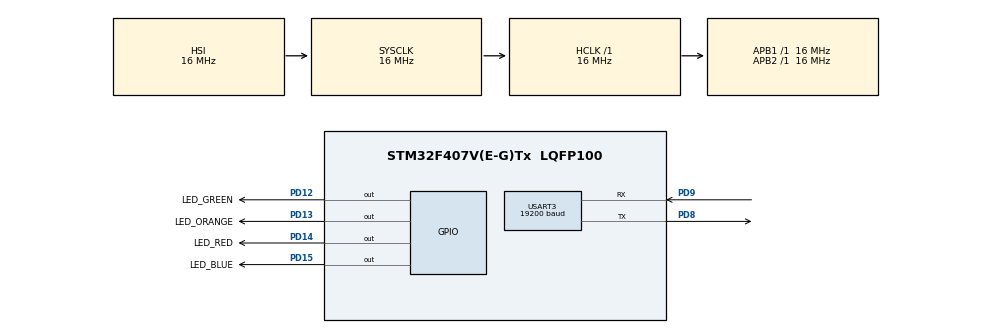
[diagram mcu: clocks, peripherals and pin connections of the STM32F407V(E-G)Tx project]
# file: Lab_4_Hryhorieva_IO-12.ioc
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Mcu.Family=STM32F4
Mcu.Name=STM32F407V(E-G)Tx
Mcu.Package=LQFP100
NVIC.PriorityGroup=NVIC_PRIORITYGROUP_4
PD12.GPIO_Label=LED_GREEN
PD12.Signal=GPIO_Output
PD13.GPIO_Label=LED_ORANGE
PD13.Signal=GPIO_Output
PD14.GPIO_Label=LED_RED
PD14.Signal=GPIO_Output
PD15.GPIO_Label=LED_BLUE
PD15.Signal=GPIO_Output
PD8.Mode=Asynchronous
PD8.Signal=USART3_TX
PD9.Mode=Asynchronous
PD9.Signal=USART3_RX
ProjectManager.HeapSize=0x200
ProjectManager.StackSize=0x400
ProjectManager.TargetToolchain=STM32CubeIDE
RCC.AHBFreq_Value=16000000
RCC.APB1Freq_Value=16000000
RCC.APB2Freq_Value=16000000
RCC.CortexFreq_Value=16000000
RCC.HSE_VALUE=25000000
RCC.HSI_VALUE=16000000
RCC.LSE_VALUE=32768
RCC.SYSCLKFreq_VALUE=16000000
RCC.VCOOutputFreq_Value=192000000
USART3.BaudRate=19200
USART3.VirtualMode=VM_ASYNC
board=custom

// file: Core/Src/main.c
/* USER CODE BEGIN Header */
/**
  ******************************************************************************
  * @file           : main.c
  * @brief          : Main program body
  ******************************************************************************
  * @attention
  *
  * Copyright (c) 2024 STMicroelectronics.
  * All rights reserved.
  *
  * This software is licensed under terms that can be found in the LICENSE file
  * in the root directory of this software component.
  * If no LICENSE file comes with this software, it is provided AS-IS.
  *
  ******************************************************************************
  */
/* USER CODE END Header */
#include "main.h"

UART_HandleTypeDef huart3;

void SystemClock_Config(void);
static void MX_GPIO_Init(void);
static void MX_USART3_UART_Init(void);

/* USER CODE BEGIN 0 */

void uart_transmit(const char* str) {
	HAL_UART_Transmit(&huart3, (uint8_t*) str, strlen(str), 100);
}

/* USER CODE END 0 */

int main(void)
{

  /* MCU Configuration--------------------------------------------------------*/

  /* Reset of all peripherals, Initializes the Flash interface and the Systick. */
  HAL_Init();

  /* Configure the system clock */
  SystemClock_Config();

  /* Initialize all configured peripherals */
  MX_GPIO_Init();
  MX_USART3_UART_Init();

  /* Infinite loop */
  /* USER CODE BEGIN WHILE */
  while (1)
  {
      uint8_t rcvBuf[1];
      HAL_StatusTypeDef result;

      result = HAL_UART_Receive(&huart3, rcvBuf, 1, 10);

      if (result == HAL_OK)
      {
          switch (rcvBuf[0])
          {
		  case '1':
			  HAL_GPIO_WritePin(LED_GREEN_GPIO_Port, LED_GREEN_Pin, GPIO_PIN_SET);
			  uart_transmit(" - Green ON\r\n");
			  break;

		  case '2':
			  HAL_GPIO_WritePin(LED_GREEN_GPIO_Port, LED_GREEN_Pin, GPIO_PIN_RESET);
			  uart_transmit(" - Green OFF\r\n");
			  break;

		  case '3':
			  HAL_GPIO_WritePin(LED_ORANGE_GPIO_Port, LED_ORANGE_Pin, GPIO_PIN_SET);
			  uart_transmit(" - Orange ON\r\n");
			  break;

		  case '4':
			  HAL_GPIO_WritePin(LED_ORANGE_GPIO_Port, LED_ORANGE_Pin, GPIO_PIN_RESET);
			  uart_transmit(" - Orange OFF\r\n");
			  break;

		  case '5':
			  HAL_GPIO_WritePin(LED_RED_GPIO_Port, LED_RED_Pin, GPIO_PIN_SET);
			  uart_transmit(" - Red ON\r\n");
			  break;

		  case '6':
			  HAL_GPIO_WritePin(LED_RED_GPIO_Port, LED_RED_Pin, GPIO_PIN_RESET);
			  uart_transmit(" - Red OFF\r\n");
			  break;

		  case '7':
			  HAL_GPIO_WritePin(LED_BLUE_GPIO_Port, LED_BLUE_Pin, GPIO_PIN_SET);
			  uart_transmit(" - Blue ON\r\n");
			  break;

		  case '8':
			  HAL_GPIO_WritePin(LED_BLUE_GPIO_Port, LED_BLUE_Pin, GPIO_PIN_RESET);
			  uart_transmit(" - Blue OFF\r\n");
			  break;

		  case '9':
			  HAL_GPIO_WritePin(LED_GREEN_GPIO_Port, LED_GREEN_Pin, GPIO_PIN_SET);
			  HAL_GPIO_WritePin(LED_ORANGE_GPIO_Port, LED_ORANGE_Pin, GPIO_PIN_SET);
			  HAL_GPIO_WritePin(LED_RED_GPIO_Port, LED_RED_Pin, GPIO_PIN_SET);
			  HAL_GPIO_WritePin(LED_BLUE_GPIO_Port, LED_BLUE_Pin, GPIO_PIN_SET);
			  uart_transmit(" - All ON\r\n");
			  break;

		  case '0':
			  HAL_GPIO_WritePin(LED_GREEN_GPIO_Port, LED_GREEN_Pin, GPIO_PIN_RESET);
			  HAL_GPIO_WritePin(LED_ORANGE_GPIO_Port, LED_ORANGE_Pin, GPIO_PIN_RESET);
			  HAL_GPIO_WritePin(LED_RED_GPIO_Port, LED_RED_Pin, GPIO_PIN_RESET);
			  HAL_GPIO_WritePin(LED_BLUE_GPIO_Port, LED_BLUE_Pin, GPIO_PIN_RESET);
			  uart_transmit(" - All OFF\r\n");
			  break;

		  default:
			  uart_transmit(" - UnexpCmd\r\n");
			  break;
          }
      }
    /* USER CODE END WHILE */

  }
}

void SystemClock_Config(void)
{
  RCC_OscInitTypeDef RCC_OscInitStruct = {0};
  RCC_ClkInitTypeDef RCC_ClkInitStruct = {0};

  /** Configure the main internal regulator output voltage
  */
  __HAL_RCC_PWR_CLK_ENABLE();
  __HAL_PWR_VOLTAGESCALING_CONFIG(PWR_REGULATOR_VOLTAGE_SCALE1);

  /** Initializes the RCC Oscillators according to the specified parameters
  * in the RCC_OscInitTypeDef structure.
  */
  RCC_OscInitStruct.OscillatorType = RCC_OSCILLATORTYPE_HSI;
  RCC_OscInitStruct.HSIState = RCC_HSI_ON;
  RCC_OscInitStruct.HSICalibrationValue = RCC_HSICALIBRATION_DEFAULT;
  RCC_OscInitStruct.PLL.PLLState = RCC_PLL_NONE;
  if (HAL_RCC_OscConfig(&RCC_OscInitStruct) != HAL_OK)
  {
    Error_Handler();
  }

  /** Initializes the CPU, AHB and APB buses clocks
  */
  RCC_ClkInitStruct.ClockType = RCC_CLOCKTYPE_HCLK|RCC_CLOCKTYPE_SYSCLK
                              |RCC_CLOCKTYPE_PCLK1|RCC_CLOCKTYPE_PCLK2;
  RCC_ClkInitStruct.SYSCLKSource = RCC_SYSCLKSOURCE_HSI;
  RCC_ClkInitStruct.AHBCLKDivider = RCC_SYSCLK_DIV1;
  RCC_ClkInitStruct.APB1CLKDivider = RCC_HCLK_DIV1;
  RCC_ClkInitStruct.APB2CLKDivider = RCC_HCLK_DIV1;

  if (HAL_RCC_ClockConfig(&RCC_ClkInitStruct, FLASH_LATENCY_0) != HAL_OK)
  {
    Error_Handler();
  }
}

static void MX_USART3_UART_Init(void)
{

  huart3.Instance = USART3;
  huart3.Init.BaudRate = 19200;
  huart3.Init.WordLength = UART_WORDLENGTH_8B;
  huart3.Init.StopBits = UART_STOPBITS_1;
  huart3.Init.Parity = UART_PARITY_NONE;
  huart3.Init.Mode = UART_MODE_TX_RX;
  huart3.Init.HwFlowCtl = UART_HWCONTROL_NONE;
  huart3.Init.OverSampling = UART_OVERSAMPLING_16;
  if (HAL_UART_Init(&huart3) != HAL_OK)
  {
    Error_Handler();
  }

}

static void MX_GPIO_Init(void)
{
  GPIO_InitTypeDef GPIO_InitStruct = {0};

  /* GPIO Ports Clock Enable */
  __HAL_RCC_GPIOD_CLK_ENABLE();

  /*Configure GPIO pin Output Level */
  HAL_GPIO_WritePin(GPIOD, LED_GREEN_Pin|LED_ORANGE_Pin|LED_RED_Pin|LED_BLUE_Pin, GPIO_PIN_RESET);

  /*Configure GPIO pins : LED_GREEN_Pin LED_ORANGE_Pin LED_RED_Pin LED_BLUE_Pin */
  GPIO_InitStruct.Pin = LED_GREEN_Pin|LED_ORANGE_Pin|LED_RED_Pin|LED_BLUE_Pin;
  GPIO_InitStruct.Mode = GPIO_MODE_OUTPUT_PP;
  GPIO_InitStruct.Pull = GPIO_NOPULL;
  GPIO_InitStruct.Speed = GPIO_SPEED_FREQ_LOW;
  HAL_GPIO_Init(GPIOD, &GPIO_InitStruct);

}

void Error_Handler(void)
{
  __disable_irq();
  while (1)
  {
  }
}
